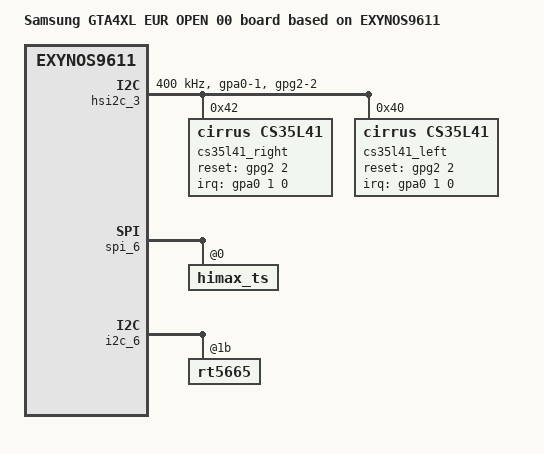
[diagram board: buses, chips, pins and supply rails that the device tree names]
/*
 * SAMSUNG EXYNOS9610 board device tree source
 *
 * Copyright (c) 2018 Samsung Electronics Co., Ltd.
 *		http://www.samsung.com
 *
 * This program is free software; you can redistribute it and/or modify
 * it under the terms of the GNU General Public License version 2 as
 * published by the Free Software Foundation.
 */

/dts-v1/;
/plugin/;

#include "exynos9611-gta4xl_common.dtsi"
#include "battery_data_gta4xl_common.dtsi"
#include "exynos9611-gta4xl_sensorhub_00.dtsi"
#include "exynos9611-gta4xl_eur_open_gpio_00.dtsi"

/ {
	compatible = "samsung,GTA4XL EUR OPEN 00", "samsung,EXYNOS9611";

	dtbo-hw_rev = <2>;
    dtbo-hw_rev_end = <2>;


	fragment@model {
		target-path = "/";
		__overlay__ {
			#address-cells = <2>;
			#size-cells = <1>;

			model = "Samsung GTA4XL EUR OPEN 00 board based on EXYNOS9611";

			sound {
				mixer-paths = "mixer_paths_rev00.xml";
				cirrus,ampclk = <0 0 1536000>;
				#address-cells = <1>;
				#size-cells = <0>;

				samsung,codec = <&abox &abox_uaif_0 &abox_uaif_1 &abox_uaif_2
					&abox_uaif_4 &abox_dsif &abox_spdy &cs35l41_left &cs35l41_right>;
				samsung,prefix = "ABOX", "ABOX", "ABOX", "ABOX",
					"ABOX", "ABOX", "ABOX", "Left", "Right";

				uaif@2 {
					format = "i2s";
					cpu {
						sound-dai = <&abox_uaif_2>;
					};
					codec {
						sound-dai = <&cs35l41_left 0 &cs35l41_right 0>;
					};
				};
			};
			
			cirrus_amps {
				compatible = "cirrus-amp";
				cirrus,num-amps = <2>;
				cirrus,amps = <&cs35l41_right &cs35l41_left>;
			};
			
			mif_pdata {
				/* GPIOs for HW REV */
				/* XGPIO26-AP_REV0, XGPIO27-AP_REV1, XGPIO28-AP_REV2, XGPIO29-AP_REV3 */
				gpios = <&gpg3 2 0>, <&gpg3 3 0>, <&gpg3 4 0>, <&gpg3 5 0>;
				pinctrl-names = "default";
			};
		}; /* end of __overlay__ */
	}; /* end of fragment */
}; /* end of root */

&pinctrl_0 {
	earant_det: earant-det {
		samsung,pins ="gpa1-4";
		samsung,pin-function = <0xf>;
		samsung,pin-pud = <0>;
	};
	
	amp_int_n: amp-int-n {
		samsung,pins = "gpa0-1";
		samsung,pin-function = <0xf>;
		samsung,pin-pud = <0>;
		samsung,pin-con-pdn =<3>;
		samsung,pin-pud-pdn = <0>;
	};
};


&pinctrl_4 {
	amp_rst_n: amp-rst-n {
		samsung,pins ="gpg2-2";
		samsung,pin-function = <1>;
		samsung,pin-val = <0>;
		samsung,pin-pud = <0>;
		samsung,pin-con-pdn =<3>;
		samsung,pin-pud-pdn = <0>;
	};
};


&hsi2c_3 {
	#address-cells = <1>;
	#size-cells = <0>;
	status = "okay";

	clock-frequency = <400000>;

	pinctrl-names = "default";
	pinctrl-0 = <&hsi2c3_bus &amp_int_n &amp_rst_n>;

	cs35l41_right: cs35l41@42 {
		status = "okay";
		#sound-dai-cells = <1>;
		compatible = "cirrus,cs35l41";
		reg = <0x42>;
		interrupt-parent = <&gpa0>;
		interrupts = <1 0 0>;

		reset-gpio = <&gpg2 2 0>;

		cirrus,mfd-suffix = "_r";
		cirrus,bd-suffix = "_right";

		cirrus,asp-sdout-hiz = <0x3>;
		cirrus,boost-peak-milliamp = <4100>;
		cirrus,right-channel-amp;

		cirrus,gpio-config2 {
			cirrus,gpio-src-select = <0x4>;
			cirrus,gpio-output-enable;
		};
	};

	cs35l41_left: cs35l41@40 {
		status = "okay";
		#sound-dai-cells = <1>;
		compatible = "cirrus,cs35l41";
		reg = <0x40>;
		interrupt-parent = <&gpa0>;
		interrupts = <1 0 0>;
		reset-gpio = <&gpg2 2 0>;

		cirrus,mfd-suffix = "";
		cirrus,bd-suffix = "_left";

		cirrus,asp-sdout-hiz = <0x3>;
		cirrus,boost-peak-milliamp = <4100>;

		cirrus,gpio-config2 {
			cirrus,gpio-src-select = <0x4>;
			cirrus,gpio-output-enable;
		};

	};
};

&spi_6 {
	himax_ts@0 {
		himax,panel-coords = <0 1200 0 2000>;
		himax,display-coords = <0 1200 0 2000>;
		himax,fw-path = "tsp_himax/hx83102e_gta4xl_old.fw";
	};
};

&i2c_6 {
	rt5665@1b {
		realtek,sar-hs-type = <700>;
		realtek,sar-pb-vth0 = <95>;
		realtek,sar-pb-vth1 = <139>;
		realtek,sar-pb-vth2 = <246>;
		realtek,sar-pb-vth3 = <580>;
	};
};
